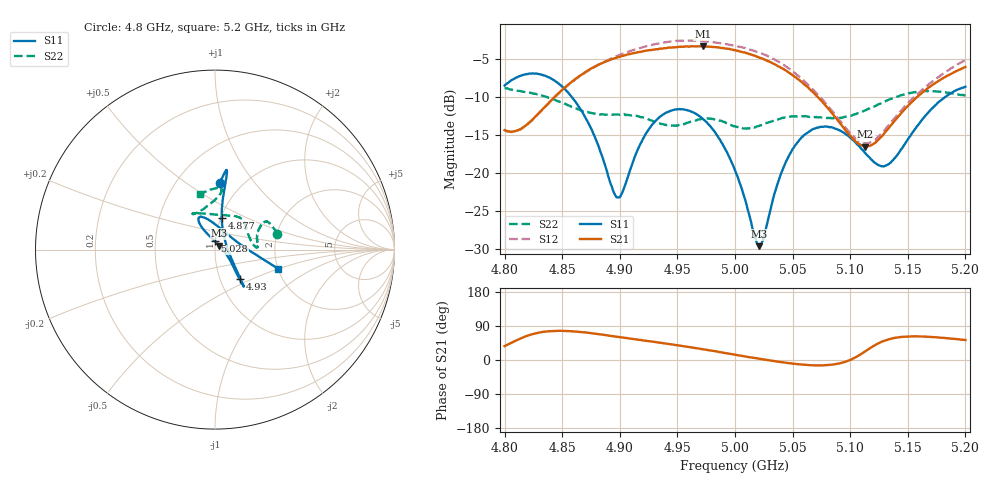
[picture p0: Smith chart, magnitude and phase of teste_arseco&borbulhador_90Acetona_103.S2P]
! Network Analyzer HP8722D
! Hewlett-Packard
! Data name: Linha & Wilkinson
! Saver's name: Rodrigo Anjos
! Comments: Teste da utilização de aquisição
! continua pelo VNA HP8722D
! Time and date: 17/4/2025 11:54
!  Frequency  S11  S21  S12  S22
# HZ  S  MA R 50
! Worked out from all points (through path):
!   401 points, 4.8 GHz to 5.2 GHz, reference 50 ohm
!   highest |S21| = -3.38 dB at 4.972 GHz (marker M1); lowest = -16.6 dB at 5.113 GHz (marker M2)
!   lowest |S11| = -29.7 dB at 5.021 GHz (marker M3), VSWR 1.07, Z = 52.4 + j2.36 ohm
!   |S11| at or under -10 dB: 4.858 GHz to 5.183 GHz (324.9 MHz wide, 6.47 % of centre)
!   |S22| runs from -14.2 to -8.9 dB; largest |S21 - S12| = 0.23
!   S11 on the Smith chart (normalised r, x): 4.8 GHz: 0.79, +0.69; 4.877 GHz: 1.01, +0.37; 4.93 GHz: 1.25, -0.42; 5.028 GHz: 0.99, +0.09; 5.2 GHz: 2.00, -0.49
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4.8e9  0.3736 85.9  0.1902 36.6  0.1901 -2.9  0.3561 14.2
4.814e9  0.4333 82.8  0.1934 57.1  0.1927 18.3  0.3431 23.4
4.834e9  0.436 81.2  0.2658 74.4  0.2645 37.8  0.3186 29.1
4.867e9  0.2526 80.9  0.4421 73.5  0.4385 43.5  0.256 21.9
4.877e9  0.181 78.1  0.4908 70.0  0.4895 42.6  0.2449 17.1
4.894e9  0.07667 43.6  0.5583 62.9  0.5698 40.2  0.2409 9.0
4.899e9  0.06868 14.9  0.5751 60.9  0.5898 39.5  0.2406 7.1
4.917e9  0.1496 -41.1  0.6214 53.2  0.6582 35.6  0.2332 2.9
4.93e9  0.2151 -48.8  0.6439 47.7  0.6959 31.9  0.2154 6.8
4.934e9  0.23 -50.2  0.6509 45.8  0.7061 30.5  0.21 9.6
4.953e9  0.2609 -52.1  0.6726 37.6  0.737 23.7  0.2069 29.4
4.972e9  0.2258 -50.9  0.6775 28.6  0.7324 16.2  0.2259 46.4
5e9  0.1037 -35.6  0.6382 13.9  0.6848 5.6  0.202 72.1
5.021e9  0.03281 43.4  0.5717 3.4  0.6162 -2.2  0.2026 101.3
5.028e9  0.04657 90.6  0.5423 0.1  0.5847 -4.8  0.2127 108.6
5.045e9  0.1208 119.2  0.4648 -7.7  0.4939 -10.8  0.2309 119.2
5.067e9  0.1918 118.9  0.3422 -13.7  0.3565 -13.5  0.2333 121.5
5.09e9  0.1907 109.8  0.2169 -9.3  0.2244 -5.0  0.2277 111.9
5.113e9  0.1344 86.0  0.1484 22.7  0.1557 30.3  0.257 95.6
5.134e9  0.1146 34.8  0.1986 55.2  0.2073 65.3  0.3026 85.5
5.171e9  0.2642 -10.6  0.3755 60.6  0.3956 78.5  0.343 87.6
5.2e9  0.3668 -16.7  0.4949 52.6  0.5504 76.3  0.3208 104.6
